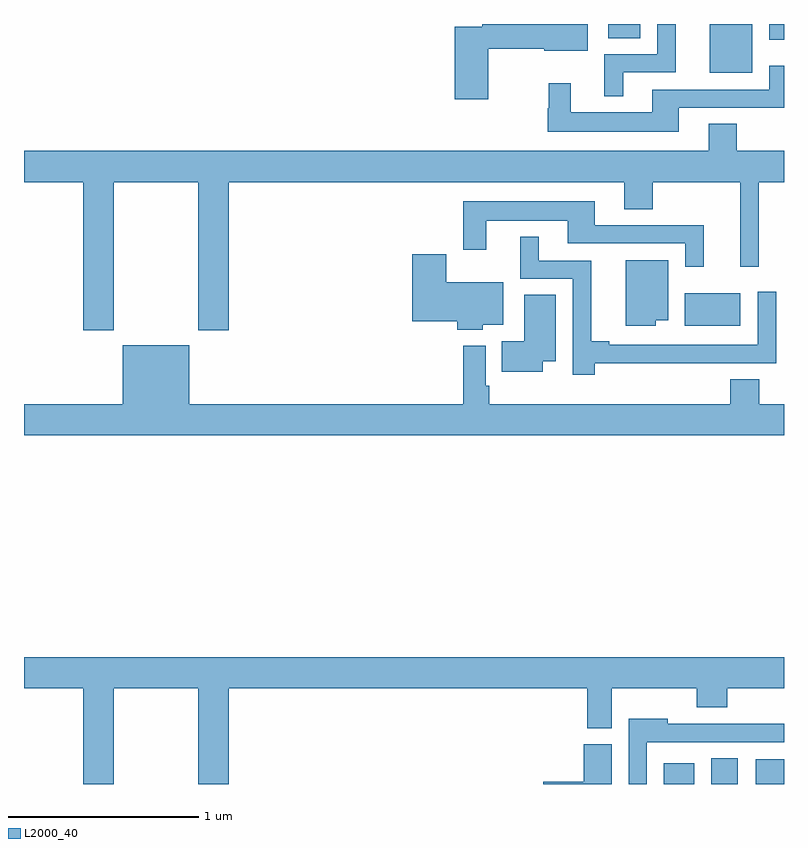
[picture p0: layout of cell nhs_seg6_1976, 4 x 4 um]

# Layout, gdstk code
import gdstk
lib = gdstk.Library(unit=1e-6, precision=1e-09)
def R(c, l, rs):  # rectangles x0, y0, x1, y1
    for r in rs: c.add(gdstk.rectangle(r[:2], r[2:], *l))
def P(c, l, *ps):  # polygons
    for p in ps: c.add(gdstk.Polygon(p, *l))
L2000_40 = (2000, 40)

nhs_seg6_1976 = lib.new_cell('nhs_seg6_1976')
R(nhs_seg6_1976, L2000_40, [(232.367,945.5,232.528,945.61), (232.616,945.5,232.756,945.635), (232.85,945.5,233,945.631), (232.478,947.912,232.771,948.082), (232.61,949.244,232.834,949.5), (232.922,949.418,233,949.5), (232.076,949.426,232.243,949.5)])
P(nhs_seg6_1976, L2000_40, [(232.153,949.245),(232.43,949.245),(232.43,949.5),(232.332,949.5),(232.332,949.341),(232.055,949.341),(232.055,949.121),(232.153,949.121)],
  [(231.444,949.369),(231.737,949.369),(231.737,949.358),(231.967,949.358),(231.967,949.5),(231.412,949.5),(231.412,949.485),(231.266,949.485),(231.266,949.104),(231.444,949.104)],
  [(232.447,949.059),(233,949.059),(233,949.279),(232.923,949.279),(232.923,949.155),(232.307,949.155),(232.307,949.036),(231.877,949.036),(231.877,949.189),(231.763,949.189),(231.763,949.056),(231.756,949.056),(231.756,948.932),(232.447,948.932)],
  [(229.473,948.668),(229.918,948.668),(229.918,947.889),(230.078,947.889),(230.078,948.668),(232.16,948.668),(232.16,948.526),(232.308,948.526),(232.308,948.668),(232.769,948.668),(232.769,948.222),(232.868,948.222),(232.868,948.668),(233,948.668),(233,948.832),(232.752,948.832),(232.752,948.974),(232.604,948.974),(232.604,948.832),(229,948.832),(229,948.668),(229.313,948.668),(229.313,947.889),(229.473,947.889)],
  [(232.577,948.441),(232.003,948.441),(232.003,948.568),(231.312,948.568),(231.312,948.312),(231.433,948.312),(231.433,948.464),(231.863,948.464),(231.863,948.345),(232.479,948.345),(232.479,948.222),(232.577,948.222)],
  [(232.004,947.714),(232.634,947.714),(232.634,947.715),(232.959,947.715),(232.959,948.091),(232.863,948.091),(232.863,947.811),(232.081,947.811),(232.081,947.831),(231.986,947.831),(231.986,948.255),(231.709,948.255),(231.709,948.379),(231.611,948.379),(231.611,948.159),(231.888,948.159),(231.888,947.655),(232.004,947.655)],
  [(231.414,947.918),(231.523,947.918),(231.523,948.142),(231.222,948.142),(231.222,948.289),(231.044,948.289),(231.044,947.936),(231.281,947.936),(231.281,947.891),(231.414,947.891)],
  [(232.324,947.942),(232.39,947.942),(232.39,948.256),(232.166,948.256),(232.166,947.912),(232.324,947.912)],
  [(231.73,947.726),(231.799,947.726),(231.799,948.074),(231.632,948.074),(231.632,947.83),(231.514,947.83),(231.514,947.669),(231.73,947.669)],
  [(233,947.5),(232.87,947.5),(232.87,947.63),(232.718,947.63),(232.718,947.5),(231.449,947.5),(231.449,947.596),(231.429,947.596),(231.429,947.806),(231.313,947.806),(231.313,947.5),(229.87,947.5),(229.87,947.809),(229.52,947.809),(229.52,947.5),(229,947.5),(229,947.336),(233,947.336)],
  [(229.473,946.004),(229.918,946.004),(229.918,945.5),(230.078,945.5),(230.078,946.004),(231.965,946.004),(231.965,945.793),(232.093,945.793),(232.093,946.004),(232.54,946.004),(232.54,945.905),(232.7,945.905),(232.7,946.004),(233,946.004),(233,946.168),(229,946.168),(229,946.004),(229.313,946.004),(229.313,945.5),(229.473,945.5)],
  [(232.278,945.72),(233,945.72),(233,945.818),(232.783,945.818),(232.783,945.816),(232.389,945.816),(232.389,945.844),(232.182,945.844),(232.182,945.5),(232.278,945.5)],
  [(232.093,945.708),(231.947,945.708),(231.947,945.512),(231.732,945.512),(231.732,945.5),(232.093,945.5)])

lib.write_gds('nhs_seg6_1976.gds')
